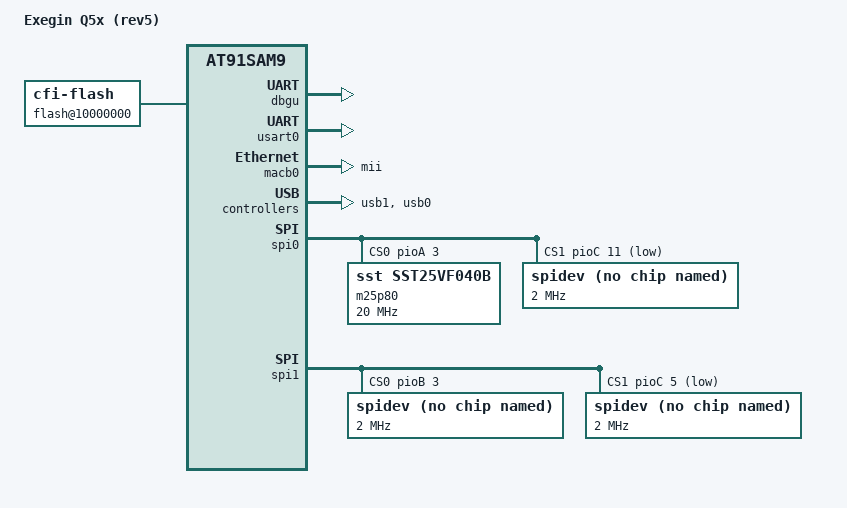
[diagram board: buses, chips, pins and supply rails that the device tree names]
/*
 * q5xr5.dts - Device Tree file for Exegin Q5xR5 board
 *
 * Copyright (C) 2014 Owen Kirby <osk@exegin.com>
 *
 * Licensed under GPLv2.
 */
/dts-v1/;
#include "at91sam9g20.dtsi"

/ {
	model = "Exegin Q5x (rev5)";
	compatible = "exegin,q5xr5", "atmel,at91sam9g20", "atmel,at91sam9";

	chosen {
		bootargs = "console=ttyS0,115200 rootfstype=squashfs,jffs2";
	};

	memory {
		reg = <0x20000000 0x0>;
	};

	clocks {
		#address-cells = <1>;
		#size-cells = <1>;
		ranges;

		main_clock: clock@0 {
			compatible = "atmel,osc", "fixed-clock";
			clock-frequency = <18432000>;
		};

		slow_xtal {
			clock-frequency = <32768>;
		};

		main_xtal {
			clock-frequency = <18432000>;
		};
	};

	ahb {
		apb {
			pinctrl@fffff400 {
				board {
					pinctrl_pck0_as_mck: pck0_as_mck {
						atmel,pins = <2 1 0x2 0x0>; /* PC1 periph B */
					};
					pinctrl_spi0_npcs0: spi0_npcs0 {
						atmel,pins = <0 3 0x1 0x0>; /* PA3 periph A */
					};
					pinctrl_spi0_npcs1: spi0_npcs1 {
						atmel,pins = <2 11 0x2 0x0>; /* PC11 periph B */
					};
					pinctrl_spi1_npcs0: spi1_npcs0 {
						atmel,pins = <1 3 0x1 0x0>; /* PB3 periph A */
					};
					pinctrl_spi1_npcs1: spi1_npcs1 {
						atmel,pins = <2 5 0x2 0x0>; /* PC5 periph B */
					};
				};

				spi0 {
					pinctrl_spi0: spi0-0 {
						atmel,pins =
							<0 0 0x1 0x0	/* PA0 periph A SPI0_MISO pin */
							 0 1 0x1 0x0	/* PA1 periph A SPI0_MOSI pin */
							 0 2 0x1 0x0>;	/* PA2 periph A SPI0_SPCK pin */
					};
				};

				spi1 {
					pinctrl_spi1: spi1-0 {
						atmel,pins =
							<1 0 0x1 0x0	/* PB0 periph A SPI1_MISO pin */
							 1 1 0x1 0x0	/* PB1 periph A SPI1_MOSI pin */
							 1 2 0x1 0x0>;	/* PB2 periph A SPI1_SPCK pin */
					};
				};
			};

			dbgu: serial@fffff200 {
				status = "okay";
			};

			usart0: serial@fffb0000 {
				pinctrl-0 =
					<&pinctrl_usart0
					 &pinctrl_usart0_rts
					 &pinctrl_usart0_cts
					 &pinctrl_usart0_dtr_dsr
					 &pinctrl_usart0_dcd
					 &pinctrl_usart0_ri>;
				status = "okay";
			};

			macb0: ethernet@fffc4000 {
				phy-mode = "mii";
				status = "okay";
			};

			usb1: gadget@fffa4000 {
				status = "okay";
			};

			watchdog@fffffd40 {
				status = "okay";
			};

			spi0: spi@fffc8000 {
				#address-cells = <1>;
				#size-cells = <0>;
				compatible = "atmel,at91rm9200-spi";
				reg = <0xfffc8000 0x200>;
				interrupts = <12 4 3>;
				pinctrl-names = "default";
				pinctrl-0 = <&pinctrl_spi0>;
				status = "okay";
				cs-gpios = <&pioA 3 0>, <&pioC 11 1>, <0>, <0>;

				m25p80@0 {
					compatible = "sst,sst25vf040b";
					spi-max-frequency = <20000000>;
					reg = <0>;
					#address-cells = <1>;
					#size-cells = <1>;

					at91boot@0 {
						label = "at91boot";
						reg = <0x0 0x4000>;
					};
					uenv@4000 {
						label = "uboot-env";
						reg = <0x4000 0x4000>;
					};
					uboot@8000 {
						label = "uboot";
						reg = <0x8000 0x3E000>;
					};
				};
				spidev@1 {
					compatible = "spidev";
					spi-max-frequency = <2000000>;
					reg = <1>;
				};
			};
			spi1: spi@fffcc000 {
				#address-cells = <1>;
				#size-cells = <0>;
				compatible = "atmel,at91rm9200-spi";
				reg = <0xfffcc000 0x200>;
				interrupts = <13 4 3>;
				pinctrl-names = "default";
				pinctrl-0 = <&pinctrl_spi1>;
				cs-gpios = <&pioB 3 0>, <&pioC 5 1>, <0>, <0>;
				status = "okay";

				spidev@0 {
					compatible = "spidev";
					spi-max-frequency = <2000000>;
					reg = <0>;
				};
				spidev@1 {
					compatible = "spidev";
					spi-max-frequency = <2000000>;
					reg = <1>;
				};
			};
		};

		usb0: ohci@500000 {
			num-ports = <2>;
			status = "okay";
		};
	};

	flash@10000000 {
		compatible = "cfi-flash";
		bank-width = <2>;
		reg = <0x10000000 0x00800000>;
		#address-cells = <1>;
		#size-cells = <1>;

		kernel@0 {
			label = "kernel";
			reg = <0x0 0x200000>;
		};
		rootfs@200000 {
			label = "rootfs";
			reg = <0x200000 0x600000>;
		};
	};
};
